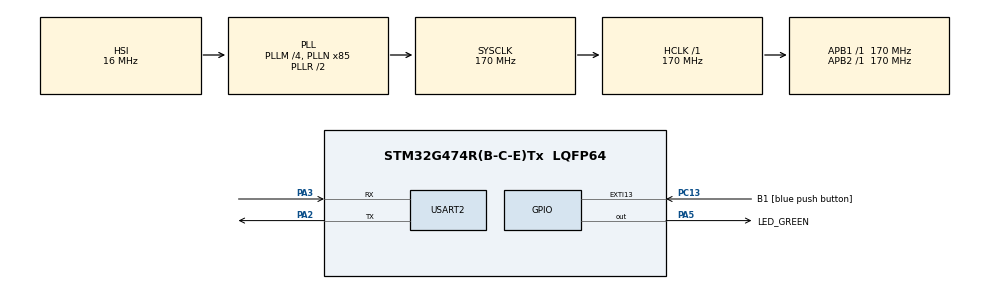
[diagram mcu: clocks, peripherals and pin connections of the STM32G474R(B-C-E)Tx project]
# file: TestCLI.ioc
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FREERTOS.BinarySemaphores01=semaphoreUart,Dynamic,NULL,Depleted
FREERTOS.Mutexes01=mutexUart,Dynamic,NULL,Available
FREERTOS.Queues01=queueUart,64,uint8_t,0,Dynamic,NULL,NULL
FREERTOS.Tasks01=task1,24,256,startTask1,Default,NULL,Dynamic,NULL,NULL;task2,24,256,startTask2,Default,NULL,Dynamic,NULL,NULL;task3,24,256,startTask3,Default,NULL,Dynamic,NULL,NULL;task4,24,256,startTask4,Default,NULL,Dynamic,NULL,NULL
FREERTOS.configTOTAL_HEAP_SIZE=10024
Mcu.Family=STM32G4
Mcu.Name=STM32G474R(B-C-E)Tx
Mcu.Package=LQFP64
NVIC.EXTI15_10_IRQn=true\:5\:0\:false\:false\:true\:true\:true\:true\:true
NVIC.PriorityGroup=NVIC_PRIORITYGROUP_4
NVIC.TIM6_DAC_IRQn=true\:15\:0\:false\:false\:true\:false\:false\:true\:true
NVIC.TimeBase=TIM6_DAC_IRQn
NVIC.TimeBaseIP=TIM6
NVIC.USART2_IRQn=true\:5\:0\:false\:false\:true\:true\:true\:true\:true
PA13.GPIO_Label=T_SWDIO
PA13.Mode=Trace_Asynchronous_SW
PA13.Signal=SYS_JTMS-SWDIO
PA14.GPIO_Label=T_SWCLK
PA14.Mode=Trace_Asynchronous_SW
PA14.Signal=SYS_JTCK-SWCLK
PA2.Mode=Asynchronous
PA2.Signal=USART2_TX
PA3.Mode=Asynchronous
PA3.Signal=USART2_RX
PA5.GPIO_Label=LED_GREEN
PA5.Signal=GPIO_Output
PB3.GPIO_Label=T_SWO
PB3.Mode=Trace_Asynchronous_SW
PB3.Signal=SYS_JTDO-SWO
PC13.GPIO_Label=B1 [blue push button]
PC13.Signal=GPXTI13
PC14-OSC32_IN.GPIO_Label=RCC_OSC32_IN
PC14-OSC32_IN.Mode=LSE-External-Oscillator
PC14-OSC32_IN.Signal=RCC_OSC32_IN
PC15-OSC32_OUT.GPIO_Label=RCC_OSC32_OUT
PC15-OSC32_OUT.Mode=LSE-External-Oscillator
PC15-OSC32_OUT.Signal=RCC_OSC32_OUT
PF0-OSC_IN.GPIO_Label=RCC_OSC_IN
PF0-OSC_IN.Mode=HSE-External-Oscillator
PF0-OSC_IN.Signal=RCC_OSC_IN
PF1-OSC_OUT.GPIO_Label=RCC_OSC_OUT
PF1-OSC_OUT.Mode=HSE-External-Oscillator
PF1-OSC_OUT.Signal=RCC_OSC_OUT
ProjectManager.HeapSize=0x200
ProjectManager.StackSize=0x400
ProjectManager.TargetToolchain=STM32CubeIDE
RCC.ADC12Freq_Value=170000000
RCC.ADC345Freq_Value=170000000
RCC.AHBFreq_Value=170000000
RCC.APB1Freq_Value=170000000
RCC.APB1TimFreq_Value=170000000
RCC.APB2Freq_Value=170000000
RCC.APB2TimFreq_Value=170000000
RCC.CortexFreq_Value=170000000
RCC.EXTERNAL_CLOCK_VALUE=12288000
RCC.HCLKFreq_Value=170000000
RCC.HSE_VALUE=24000000
RCC.HSI48_VALUE=48000000
RCC.HSI_VALUE=16000000
RCC.PLLM=RCC_PLLM_DIV4
RCC.PLLN=85
RCC.RTCClockSelection=RCC_RTCCLKSOURCE_LSE
RCC.SYSCLKFreq_VALUE=170000000
RCC.SYSCLKSource=RCC_SYSCLKSOURCE_PLLCLK
RCC.USBFreq_Value=170000000
RCC.VCOOutputFreq_Value=340000000
USART2.VirtualMode-Asynchronous=VM_ASYNC
VP_FREERTOS_VS_CMSIS_V2.Mode=CMSIS_V2
VP_SYS_VS_DBSignals.Mode=DisableDeadBatterySignals
VP_SYS_VS_tim6.Mode=TIM6
board=NUCLEO-G474RE

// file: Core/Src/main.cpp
/* USER CODE BEGIN Header */
/**
 ******************************************************************************
 * @file           : main.c
 * @brief          : Main program body
 ******************************************************************************
 * @attention
 *
 * Copyright (c) 2025 STMicroelectronics.
 * All rights reserved.
 *
 * This software is licensed under terms that can be found in the LICENSE file
 * in the root directory of this software component.
 * If no LICENSE file comes with this software, it is provided AS-IS.
 *
 ******************************************************************************
 */
/* USER CODE END Header */
#include <console.h>
#include "main.h"
#include "cmsis_os.h"

/* USER CODE BEGIN Includes */

#include "uart_controller.h"

/* USER CODE END Includes */

UART_HandleTypeDef huart2;

/* Definitions for task1 */
osThreadId_t task1Handle;
const osThreadAttr_t task1_attributes = { .name = "task1",
		.stack_size = 256 * 4, .priority = (osPriority_t) osPriorityNormal, };
/* Definitions for task2 */
osThreadId_t task2Handle;
const osThreadAttr_t task2_attributes = { .name = "task2",
		.stack_size = 256 * 4, .priority = (osPriority_t) osPriorityNormal, };
/* Definitions for task3 */
osThreadId_t task3Handle;
const osThreadAttr_t task3_attributes = { .name = "task3",
		.stack_size = 256 * 4, .priority = (osPriority_t) osPriorityNormal, };
/* Definitions for task4 */
osThreadId_t task4Handle;
const osThreadAttr_t task4_attributes = { .name = "task4",
		.stack_size = 256 * 4, .priority = (osPriority_t) osPriorityNormal, };
/* Definitions for queueUart */
osMessageQueueId_t queueUartHandle;
const osMessageQueueAttr_t queueUart_attributes = { .name = "queueUart" };
/* Definitions for mutexUArt */
osMutexId_t mutexUartHandle;
const osMutexAttr_t mutexUart_attributes = { .name = "mutexUart" };
/* Definitions for semaphoreUart */
osSemaphoreId_t semaphoreUartHandle;
const osSemaphoreAttr_t semaphoreUart_attributes = { .name = "semaphoreUart" };

void SystemClock_Config(void);
static void MX_GPIO_Init(void);
static void MX_USART2_UART_Init(void);
void startTask1(void *argument);
void startTask2(void *argument);
void startTask3(void *argument);
void startTask4(void *argument);

/* USER CODE BEGIN 0 */

UartController uart;

/* USER CODE END 0 */

int main(void) {

	/* MCU Configuration--------------------------------------------------------*/

	/* Reset of all peripherals, Initializes the Flash interface and the Systick. */
	HAL_Init();

	/* Configure the system clock */
	SystemClock_Config();

	/* Initialize all configured peripherals */
	MX_GPIO_Init();
	MX_USART2_UART_Init();
	/* USER CODE BEGIN 2 */

	uart.setHandleUart(&huart2);
	uart.setHandleMutexTx(&mutexUartHandle);
	uart.setHandleQueueRx(&queueUartHandle);
	uart.setHandleSemTx(&semaphoreUartHandle);
	uart.printout(true);
	if (uart.init() == false)
	{
		HAL_GPIO_WritePin(LED_GREEN_GPIO_Port, LED_GREEN_Pin, GPIO_PIN_SET);
	}

	/* USER CODE END 2 */

	/* Init scheduler */
	osKernelInitialize();
	/* Create the mutex(es) */
	/* creation of mutexUArt */
	mutexUartHandle = osMutexNew(&mutexUart_attributes);

	/* Create the semaphores(s) */
	/* creation of semaphoreUart */
	semaphoreUartHandle = osSemaphoreNew(1, 0, &semaphoreUart_attributes);

	/* Create the queue(s) */
	/* creation of queueUart */
	queueUartHandle = osMessageQueueNew(64, sizeof(uint8_t),
			&queueUart_attributes);

	/* Create the thread(s) */
	/* creation of task1 */
	task1Handle = osThreadNew(startTask1, NULL, &task1_attributes);

	/* creation of task2 */
	task2Handle = osThreadNew(startTask2, NULL, &task2_attributes);

	/* creation of task3 */
	task3Handle = osThreadNew(startTask3, NULL, &task3_attributes);

	/* creation of task4 */
	task4Handle = osThreadNew(startTask4, NULL, &task4_attributes);

	/* Start scheduler */
	osKernelStart();

	/* We should never get here as control is now taken by the scheduler */

	/* Infinite loop */
	while (1) {

	}
}

void SystemClock_Config(void) {
	RCC_OscInitTypeDef RCC_OscInitStruct = { 0 };
	RCC_ClkInitTypeDef RCC_ClkInitStruct = { 0 };

	/** Configure the main internal regulator output voltage
	 */
	HAL_PWREx_ControlVoltageScaling(PWR_REGULATOR_VOLTAGE_SCALE1_BOOST);

	/** Initializes the RCC Oscillators according to the specified parameters
	 * in the RCC_OscInitTypeDef structure.
	 */
	RCC_OscInitStruct.OscillatorType = RCC_OSCILLATORTYPE_HSI;
	RCC_OscInitStruct.HSIState = RCC_HSI_ON;
	RCC_OscInitStruct.HSICalibrationValue = RCC_HSICALIBRATION_DEFAULT;
	RCC_OscInitStruct.PLL.PLLState = RCC_PLL_ON;
	RCC_OscInitStruct.PLL.PLLSource = RCC_PLLSOURCE_HSI;
	RCC_OscInitStruct.PLL.PLLM = RCC_PLLM_DIV4;
	RCC_OscInitStruct.PLL.PLLN = 85;
	RCC_OscInitStruct.PLL.PLLP = RCC_PLLP_DIV2;
	RCC_OscInitStruct.PLL.PLLQ = RCC_PLLQ_DIV2;
	RCC_OscInitStruct.PLL.PLLR = RCC_PLLR_DIV2;
	if (HAL_RCC_OscConfig(&RCC_OscInitStruct) != HAL_OK) {
		Error_Handler();
	}

	/** Initializes the CPU, AHB and APB buses clocks
	 */
	RCC_ClkInitStruct.ClockType = RCC_CLOCKTYPE_HCLK | RCC_CLOCKTYPE_SYSCLK
			| RCC_CLOCKTYPE_PCLK1 | RCC_CLOCKTYPE_PCLK2;
	RCC_ClkInitStruct.SYSCLKSource = RCC_SYSCLKSOURCE_PLLCLK;
	RCC_ClkInitStruct.AHBCLKDivider = RCC_SYSCLK_DIV1;
	RCC_ClkInitStruct.APB1CLKDivider = RCC_HCLK_DIV1;
	RCC_ClkInitStruct.APB2CLKDivider = RCC_HCLK_DIV1;

	if (HAL_RCC_ClockConfig(&RCC_ClkInitStruct, FLASH_LATENCY_4) != HAL_OK) {
		Error_Handler();
	}
}

static void MX_USART2_UART_Init(void) {

	huart2.Instance = USART2;
	huart2.Init.BaudRate = 115200;
	huart2.Init.WordLength = UART_WORDLENGTH_8B;
	huart2.Init.StopBits = UART_STOPBITS_1;
	huart2.Init.Parity = UART_PARITY_NONE;
	huart2.Init.Mode = UART_MODE_TX_RX;
	huart2.Init.HwFlowCtl = UART_HWCONTROL_NONE;
	huart2.Init.OverSampling = UART_OVERSAMPLING_16;
	huart2.Init.OneBitSampling = UART_ONE_BIT_SAMPLE_DISABLE;
	huart2.Init.ClockPrescaler = UART_PRESCALER_DIV1;
	huart2.AdvancedInit.AdvFeatureInit = UART_ADVFEATURE_NO_INIT;
	if (HAL_UART_Init(&huart2) != HAL_OK) {
		Error_Handler();
	}
	if (HAL_UARTEx_SetTxFifoThreshold(&huart2, UART_TXFIFO_THRESHOLD_1_8)
			!= HAL_OK) {
		Error_Handler();
	}
	if (HAL_UARTEx_SetRxFifoThreshold(&huart2, UART_RXFIFO_THRESHOLD_1_8)
			!= HAL_OK) {
		Error_Handler();
	}
	if (HAL_UARTEx_DisableFifoMode(&huart2) != HAL_OK) {
		Error_Handler();
	}

}

static void MX_GPIO_Init(void) {
	GPIO_InitTypeDef GPIO_InitStruct = { 0 };

	/* GPIO Ports Clock Enable */
	__HAL_RCC_GPIOC_CLK_ENABLE();
	__HAL_RCC_GPIOF_CLK_ENABLE();
	__HAL_RCC_GPIOA_CLK_ENABLE();
	__HAL_RCC_GPIOB_CLK_ENABLE();

	/*Configure GPIO pin Output Level */
	HAL_GPIO_WritePin(LED_GREEN_GPIO_Port, LED_GREEN_Pin, GPIO_PIN_RESET);

	/*Configure GPIO pin : B1_Pin */
	GPIO_InitStruct.Pin = B1_Pin;
	GPIO_InitStruct.Mode = GPIO_MODE_IT_RISING;
	GPIO_InitStruct.Pull = GPIO_NOPULL;
	HAL_GPIO_Init(B1_GPIO_Port, &GPIO_InitStruct);

	/*Configure GPIO pin : LED_GREEN_Pin */
	GPIO_InitStruct.Pin = LED_GREEN_Pin;
	GPIO_InitStruct.Mode = GPIO_MODE_OUTPUT_PP;
	GPIO_InitStruct.Pull = GPIO_NOPULL;
	GPIO_InitStruct.Speed = GPIO_SPEED_FREQ_LOW;
	HAL_GPIO_Init(LED_GREEN_GPIO_Port, &GPIO_InitStruct);

	/* EXTI interrupt init*/
	HAL_NVIC_SetPriority(EXTI15_10_IRQn, 5, 0);
	HAL_NVIC_EnableIRQ(EXTI15_10_IRQn);

}

/* USER CODE BEGIN 4 */

void HAL_UART_TxCpltCallback(UART_HandleTypeDef *huart)
{
    uart.updateInterruptTx(huart);
}

void HAL_UART_RxCpltCallback(UART_HandleTypeDef *huart)
{
    uart.updateInterruptRx(huart);
}

/* USER CODE END 4 */

void testFunc(const std::string &comm)
{
	uart.send("Test djela\r\n");
}

void printHelp(const std::string &comm)
{
	uart.send("Insert help description...\r\n");
}

void testPartial(const std::string &comm)
{
	uart.send("Partial djela\r\n");
}

class TestClass
{
public:
	void testPrint(const std::string &comm)
	{
		uart.send("test print from test class...\r\n");
	}
};

void startTask1(void *argument) {
	/* USER CODE BEGIN 5 */

	Console console
	(
		std::bind(&UartController::send, &uart, std::placeholders::_1),
		std::bind(&UartController::receive, &uart)
	);

	TestClass test;

	console.registerCommand("test\r", testFunc);
	console.registerCommand("help\r", printHelp);
	console.registerCommand("*p,xx,xx,xx,xx\r", testPartial, 3);
	console.registerCommand("class\r", [&test](const std::string& comm){test.testPrint(comm);});

	console.splash();
	console.printRegistered();
	/* Infinite loop */
	for (;;) {
		console.run();
	}
	/* USER CODE END 5 */
}

void startTask2(void *argument) {
	/* USER CODE BEGIN startTask2 */
	/* Infinite loop */
	for (;;) {
		osDelay(1000);

//		uart.send("hey2\r\n");
	}
	/* USER CODE END startTask2 */
}

void startTask3(void *argument) {
	/* USER CODE BEGIN startTask3 */
	/* Infinite loop */
	for (;;) {
		osDelay(1000);

//		uart.send("hey3\r\n");
	}
	/* USER CODE END startTask3 */
}

void startTask4(void *argument) {
	/* USER CODE BEGIN startTask4 */
	/* Infinite loop */
	for (;;) {
		osDelay(1000);

//		uart.send("hey4\r\n");
	}
	/* USER CODE END startTask4 */
}

void HAL_TIM_PeriodElapsedCallback(TIM_HandleTypeDef *htim) {
	if (htim->Instance == TIM6) {
		HAL_IncTick();
	}
}

void Error_Handler(void) {
	__disable_irq();
	while (1) {
	}
}
